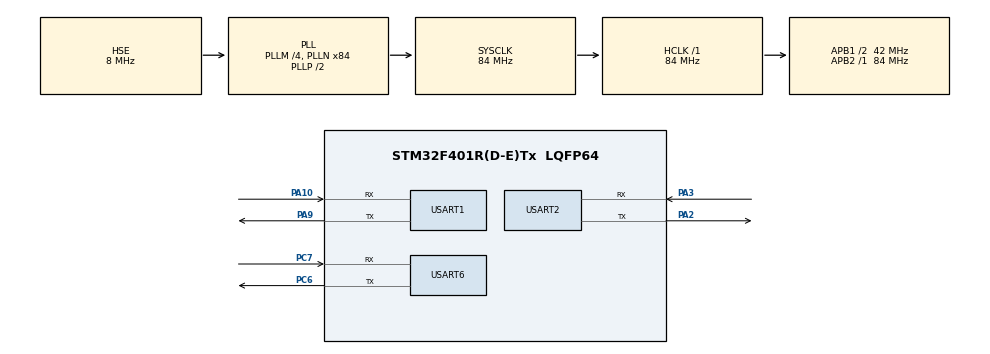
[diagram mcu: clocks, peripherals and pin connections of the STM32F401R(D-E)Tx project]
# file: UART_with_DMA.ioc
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Dma.Request0=USART1_RX
Dma.USART1_RX.0.Direction=DMA_PERIPH_TO_MEMORY
Dma.USART1_RX.0.FIFOMode=DMA_FIFOMODE_DISABLE
Dma.USART1_RX.0.Instance=DMA2_Stream2
Dma.USART1_RX.0.MemDataAlignment=DMA_MDATAALIGN_BYTE
Dma.USART1_RX.0.MemInc=DMA_MINC_ENABLE
Dma.USART1_RX.0.Mode=DMA_CIRCULAR
Dma.USART1_RX.0.PeriphDataAlignment=DMA_PDATAALIGN_BYTE
Dma.USART1_RX.0.PeriphInc=DMA_PINC_DISABLE
Dma.USART1_RX.0.Priority=DMA_PRIORITY_LOW
Mcu.Family=STM32F4
Mcu.Name=STM32F401R(D-E)Tx
Mcu.Package=LQFP64
NVIC.DMA2_Stream2_IRQn=true\:0\:0\:false\:false\:true\:false\:true\:true
NVIC.PriorityGroup=NVIC_PRIORITYGROUP_4
NVIC.USART1_IRQn=true\:0\:0\:false\:false\:true\:true\:true\:true
PA10.Mode=Asynchronous
PA10.Signal=USART1_RX
PA13.Mode=Serial_Wire
PA13.Signal=SYS_JTMS-SWDIO
PA14.Mode=Serial_Wire
PA14.Signal=SYS_JTCK-SWCLK
PA2.Mode=Asynchronous
PA2.Signal=USART2_TX
PA3.Mode=Asynchronous
PA3.Signal=USART2_RX
PA9.Mode=Asynchronous
PA9.Signal=USART1_TX
PC6.Mode=Asynchronous
PC6.Signal=USART6_TX
PC7.Mode=Asynchronous
PC7.Signal=USART6_RX
PH0\ -\ OSC_IN.Mode=HSE-External-Oscillator
PH0\ -\ OSC_IN.Signal=RCC_OSC_IN
PH1\ -\ OSC_OUT.Mode=HSE-External-Oscillator
PH1\ -\ OSC_OUT.Signal=RCC_OSC_OUT
ProjectManager.HeapSize=0x200
ProjectManager.StackSize=0x400
ProjectManager.TargetToolchain=STM32CubeIDE
RCC.48MHZClocksFreq_Value=24000000
RCC.AHBFreq_Value=84000000
RCC.APB1CLKDivider=RCC_HCLK_DIV2
RCC.APB1Freq_Value=42000000
RCC.APB1TimFreq_Value=84000000
RCC.APB2Freq_Value=84000000
RCC.APB2TimFreq_Value=84000000
RCC.CortexFreq_Value=84000000
RCC.HCLKFreq_Value=84000000
RCC.HSE_VALUE=8000000
RCC.HSI_VALUE=16000000
RCC.LSE_VALUE=32768
RCC.PLLM=4
RCC.PLLN=84
RCC.PLLQ=7
RCC.PLLSourceVirtual=RCC_PLLSOURCE_HSE
RCC.SYSCLKFreq_VALUE=84000000
RCC.SYSCLKSource=RCC_SYSCLKSOURCE_PLLCLK
RCC.VCOOutputFreq_Value=168000000
USART1.VirtualMode=VM_ASYNC
USART2.VirtualMode=VM_ASYNC
USART6.VirtualMode=VM_ASYNC
board=NUCLEO-F401RE

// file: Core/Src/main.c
/* USER CODE BEGIN Header */
/**
  ******************************************************************************
  * @file           : main.c
  * @brief          : Main program body
  ******************************************************************************
  * @attention
  *
  * Copyright (c) 2025 STMicroelectronics.
  * All rights reserved.
  *
  * This software is licensed under terms that can be found in the LICENSE file
  * in the root directory of this software component.
  * If no LICENSE file comes with this software, it is provided AS-IS.
  *
  ******************************************************************************
  */
/* USER CODE END Header */
#include "main.h"

/* USER CODE BEGIN Includes */
#include <stdio.h>
#include <string.h>
/* USER CODE END Includes */

/* USER CODE BEGIN PD */
#define BUFFER_SIZE 64
/* USER CODE END PD */

UART_HandleTypeDef huart1;
UART_HandleTypeDef huart2;
UART_HandleTypeDef huart6;
DMA_HandleTypeDef hdma_usart1_rx;

/* USER CODE BEGIN PV */
char transmit_buffer[BUFFER_SIZE];
char receive_buffer[BUFFER_SIZE];
uint8_t dma_buffer[BUFFER_SIZE];
/* USER CODE END PV */

void SystemClock_Config(void);
static void MX_GPIO_Init(void);
static void MX_DMA_Init(void);
static void MX_USART2_UART_Init(void);
static void MX_USART1_UART_Init(void);
static void MX_USART6_UART_Init(void);

/* USER CODE BEGIN 0 */

// Send printf to uart2
int _write(int fd, char* ptr, int len) {
  HAL_StatusTypeDef hstatus;

  if (fd == 1 || fd == 2) {
    hstatus = HAL_UART_Transmit(&huart2, (uint8_t *) ptr, len, HAL_MAX_DELAY);
    if (hstatus == HAL_OK)
      return len;
    else
      return -1;
  }
  return -1;
}

void process_character(char ch) {
    static uint32_t strlen = 0;
    switch (ch) {
    case '\0':
        printf("Received    : %s\n", receive_buffer);
        receive_buffer[0] = '\0';
        strlen = 0;
        break;
    default:
        if (strlen < BUFFER_SIZE) {
            strncat((char*) &receive_buffer, &ch, 1);
            ++strlen;
        }
    }
}

void HAL_UARTEx_RxEventCallback(UART_HandleTypeDef *huart, uint16_t offset){
    static uint16_t last_offset = 0;
    printf("Offset %d\n", offset);

    if (offset != last_offset) {
        if (offset < last_offset)
            last_offset = 0;

        while (last_offset < offset) {
            process_character((char) dma_buffer[last_offset]);
            ++last_offset;
        }
    }
}

void HAL_UART_ErrorCallback(UART_HandleTypeDef *huart){
	printf("UART Error!\n");
	Error_Handler();
}

/* USER CODE END 0 */

int main(void)
{
  HAL_Init();
  SystemClock_Config();
  MX_GPIO_Init();
  MX_DMA_Init();
  MX_USART2_UART_Init();
  MX_USART1_UART_Init();
  MX_USART6_UART_Init();

  /* USER CODE BEGIN 2 */
  printf("\n\n\n +----------Starting----------+ \n");
  HAL_UARTEx_ReceiveToIdle_DMA(&huart1, (uint8_t *) &dma_buffer, BUFFER_SIZE);
  /* USER CODE END 2 */

  uint32_t now = 0, next_tick = 1000, loop_cnt = 0, next_tx = 1000, tx_cnt = 1;
  while (1)
  {
	  now = uwTick;
	  if (now >= next_tick) {
		  printf("Tick %lu (loop %lu) \r \n", now / 1000, loop_cnt);
		  fflush(stdout);
		  loop_cnt = 0;
		  next_tick = now + 1000;
	  }

	  if (now >= next_tx) {
		  sprintf(transmit_buffer, "This is a reasonable long data string with a number %lu", tx_cnt);
		  printf("Transmitting : %s\n", transmit_buffer);
		  HAL_UART_Transmit(&huart6, (uint8_t*) &transmit_buffer, strlen(transmit_buffer) + 1, HAL_MAX_DELAY);
		  ++tx_cnt;
		  next_tx = now + 1000;
	  }
	  ++loop_cnt;
  }
}

void SystemClock_Config(void)
{
  RCC_OscInitTypeDef RCC_OscInitStruct = {0};
  RCC_ClkInitTypeDef RCC_ClkInitStruct = {0};

  __HAL_RCC_PWR_CLK_ENABLE();
  __HAL_PWR_VOLTAGESCALING_CONFIG(PWR_REGULATOR_VOLTAGE_SCALE2);

  RCC_OscInitStruct.OscillatorType = RCC_OSCILLATORTYPE_HSE;
  RCC_OscInitStruct.HSEState = RCC_HSE_ON;
  RCC_OscInitStruct.PLL.PLLState = RCC_PLL_ON;
  RCC_OscInitStruct.PLL.PLLSource = RCC_PLLSOURCE_HSE;
  RCC_OscInitStruct.PLL.PLLM = 4;
  RCC_OscInitStruct.PLL.PLLN = 84;
  RCC_OscInitStruct.PLL.PLLP = RCC_PLLP_DIV2;
  RCC_OscInitStruct.PLL.PLLQ = 7;
  if (HAL_RCC_OscConfig(&RCC_OscInitStruct) != HAL_OK)
  {
    Error_Handler();
  }

  RCC_ClkInitStruct.ClockType = RCC_CLOCKTYPE_HCLK|RCC_CLOCKTYPE_SYSCLK
                              |RCC_CLOCKTYPE_PCLK1|RCC_CLOCKTYPE_PCLK2;
  RCC_ClkInitStruct.SYSCLKSource = RCC_SYSCLKSOURCE_PLLCLK;
  RCC_ClkInitStruct.AHBCLKDivider = RCC_SYSCLK_DIV1;
  RCC_ClkInitStruct.APB1CLKDivider = RCC_HCLK_DIV2;
  RCC_ClkInitStruct.APB2CLKDivider = RCC_HCLK_DIV1;

  if (HAL_RCC_ClockConfig(&RCC_ClkInitStruct, FLASH_LATENCY_2) != HAL_OK)
  {
    Error_Handler();
  }
}

static void MX_USART1_UART_Init(void)
{
  huart1.Instance = USART1;
  huart1.Init.BaudRate = 115200;
  huart1.Init.WordLength = UART_WORDLENGTH_8B;
  huart1.Init.StopBits = UART_STOPBITS_1;
  huart1.Init.Parity = UART_PARITY_NONE;
  huart1.Init.Mode = UART_MODE_TX_RX;
  huart1.Init.HwFlowCtl = UART_HWCONTROL_NONE;
  huart1.Init.OverSampling = UART_OVERSAMPLING_16;
  if (HAL_UART_Init(&huart1) != HAL_OK)
  {
    Error_Handler();
  }
}

static void MX_USART2_UART_Init(void)
{
  huart2.Instance = USART2;
  huart2.Init.BaudRate = 115200;
  huart2.Init.WordLength = UART_WORDLENGTH_8B;
  huart2.Init.StopBits = UART_STOPBITS_1;
  huart2.Init.Parity = UART_PARITY_NONE;
  huart2.Init.Mode = UART_MODE_TX_RX;
  huart2.Init.HwFlowCtl = UART_HWCONTROL_NONE;
  huart2.Init.OverSampling = UART_OVERSAMPLING_16;
  if (HAL_UART_Init(&huart2) != HAL_OK)
  {
    Error_Handler();
  }
}

static void MX_USART6_UART_Init(void)
{
  huart6.Instance = USART6;
  huart6.Init.BaudRate = 115200;
  huart6.Init.WordLength = UART_WORDLENGTH_8B;
  huart6.Init.StopBits = UART_STOPBITS_1;
  huart6.Init.Parity = UART_PARITY_NONE;
  huart6.Init.Mode = UART_MODE_TX;
  huart6.Init.HwFlowCtl = UART_HWCONTROL_NONE;
  huart6.Init.OverSampling = UART_OVERSAMPLING_16;
  if (HAL_UART_Init(&huart6) != HAL_OK)
  {
    Error_Handler();
  }
}

static void MX_DMA_Init(void)
{
  __HAL_RCC_DMA2_CLK_ENABLE();
  HAL_NVIC_SetPriority(DMA2_Stream2_IRQn, 0, 0);
  HAL_NVIC_EnableIRQ(DMA2_Stream2_IRQn);
}

static void MX_GPIO_Init(void)
{
  __HAL_RCC_GPIOH_CLK_ENABLE();
  __HAL_RCC_GPIOA_CLK_ENABLE();
}

void Error_Handler(void)
{
  __disable_irq();
  while (1)
  {
  }
}
